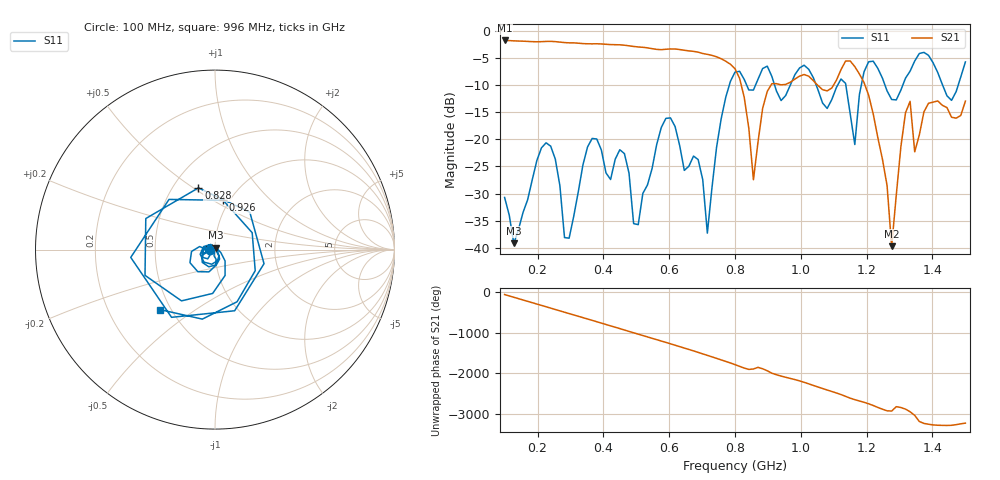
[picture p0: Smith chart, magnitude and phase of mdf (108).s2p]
! NanoVNA-App
! Date: 2025-09-25 17:41:48
! Start: 100MHz Stop: 1,5GHz Points: 101
! S-Parameter data: F S11 S21 S12 S22
# Hz S RI R 50
!  Frequency  S11_Real  S11_Imag  S21_Real  S21_Imag  S12_Real  S12_Imag  S22_Real  S22_Imag
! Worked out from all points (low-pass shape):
!   101 points, 100 MHz to 1.5 GHz, reference 50 ohm
!   highest |S21| = -1.80 dB at 100 MHz (marker M1); lowest = -39.7 dB at 1.276 GHz (marker M2)
!   |S21| within 3 dB of the highest: start of sweep to 743.8 MHz
!   lowest |S11| = -39.2 dB at 128 MHz (marker M3), VSWR 1.02, Z = 50.3 + j1.05 ohm
!   |S11| at or under -10 dB: start of sweep to 782.8 MHz; 920.2 MHz to 968.1 MHz (47.91 MHz wide, 5.07 % of centre); 1.047 GHz to 1.112 GHz (65.59 MHz wide, 6.08 % of centre) (the widest 3 of 7)
!   S12 and S22 are empty: the file has one direction only
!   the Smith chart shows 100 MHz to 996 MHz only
!   S11 on the Smith chart (normalised r, x): 100 MHz: 0.94, -0.01; 828 MHz: 0.67, +0.52; 926 MHz: 0.94, +0.56; 996 MHz: 0.44, -0.37
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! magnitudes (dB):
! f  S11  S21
! 100 MHz  -30.7  -1.8
! 128 MHz  -39.2  -1.9
! 212 MHz  -21.6  -2.0
! 282 MHz  -38.1  -2.2
! 338 MHz  -24.7  -2.4
! 464 MHz  -22.6  -2.7
! 506 MHz  -35.7  -3.0
! 576 MHz  -17.8  -3.5
! 688 MHz  -23.7  -3.9
! 716 MHz  -37.3  -4.4
! 800 MHz  -7.6  -7.0
! 828 MHz  -9.0  -12.3
! 856 MHz  -10.9  -27.4
! 926 MHz  -11.1  -9.8
! 996 MHz  -6.9  -8.4
! 1.038 GHz  -8.6  -9.2
! 1.164 GHz  -21.0  -6.6
! 1.192 GHz  -7.6  -9.5
! 1.276 GHz  -12.7  -39.7
! 1.332 GHz  -7.4  -13.0
! 1.346 GHz  -5.6  -22.3
! 1.5 GHz  -5.8  -13.0
